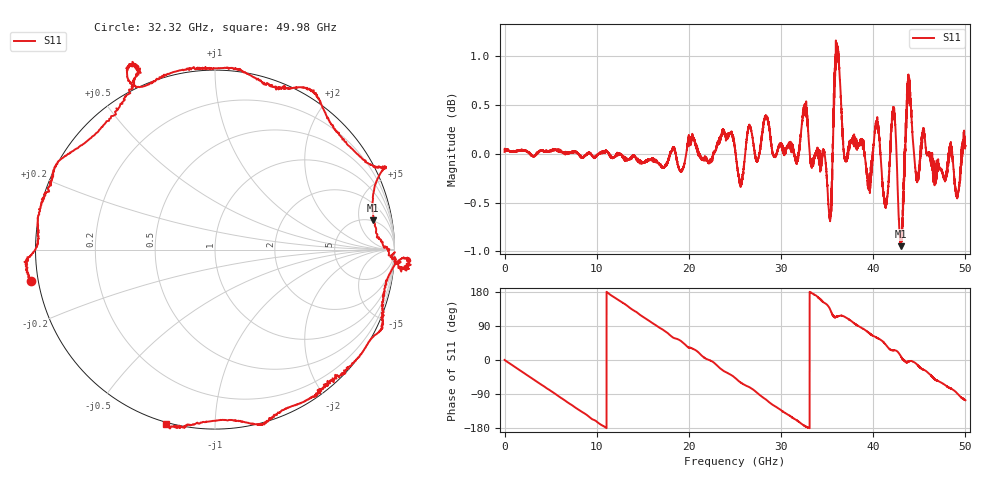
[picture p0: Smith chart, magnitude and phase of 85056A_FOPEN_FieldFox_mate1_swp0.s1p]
!Created with skrf (http://scikit-rf.org).
# Hz S RI R 50.0
!freq ReS11 ImS11
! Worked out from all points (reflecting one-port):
!   10001 points, 300 kHz to 50 GHz, reference 50 ohm
!   lowest |S11| = -0.9 dB at 42.98 GHz (marker M1), VSWR 18.37, Z = 242 + j402 ohm
!   phase of S11 starts at 0 deg and turns -826 deg over the sweep
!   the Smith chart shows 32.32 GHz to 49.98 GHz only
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300000  1.002 0.00182
1.755289e9  0.8805 -0.4837
3.665278e9  0.5029 -0.8664
6.250262e9  -0.2069 -0.9805
9.420243e9  -0.9047 -0.4236
1.250022e10  -0.913 0.4072
1.574021e10  -0.2134 0.9695
1.875019e10  0.5631 0.8131
1.997018e10  0.8623 0.5444
2.177017e10  0.9902 0.0793
2.318016e10  0.9651 -0.3057
2.500015e10  0.6849 -0.7348
2.652514e10  0.3299 -0.9779
2.826513e10  -0.2281 -1.018
3.125011e10  -0.8936 -0.4665
3.25751e10  -1.051 -0.1162
3.39801e10  -0.9747 0.2414
3.515009e10  -0.7303 0.5903
3.589508e10  -0.426 1.018
3.750008e10  -0.259 0.9823
4.045006e10  0.5511 0.8748
4.204505e10  0.9446 0.4604
4.298004e10  0.8818 0.1628
4.375004e10  1.086 -0.0872
4.439503e10  0.9983 -0.0899
4.562503e10  0.9004 -0.4703
4.691502e10  0.5732 -0.7916
5e10  -0.2818 -0.9697
